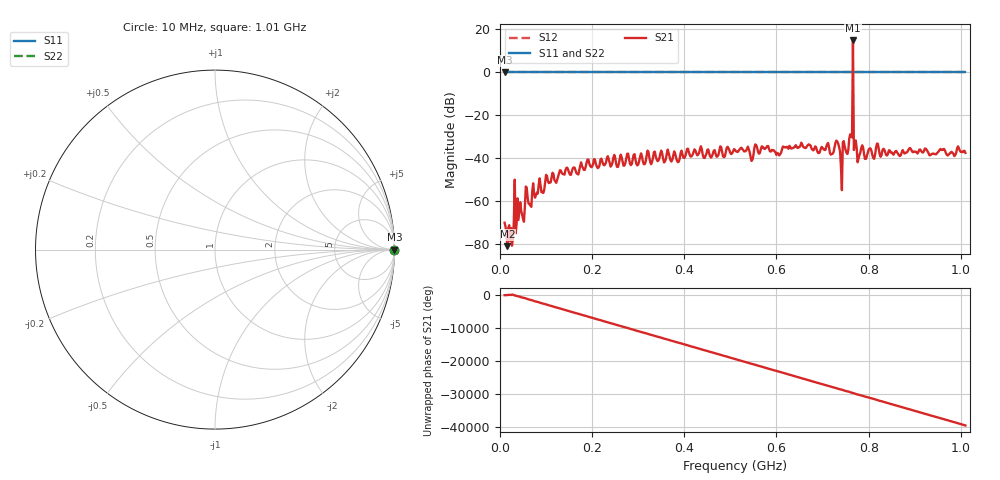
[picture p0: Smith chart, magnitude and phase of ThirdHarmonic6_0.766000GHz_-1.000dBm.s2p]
! 8/16/2025 1:36:11 AM
! C:\ANRITSUVNA\TEMP\TEMP.S2P
! CHANNEL.1
! TR.MEASUREMENT
! RAW.DATA
! RF.CORRECTION.OFF
! AVERAGING.OFF
! IF.BANDWIDTH: 5KHZ
! SWEEPTYPE:  FREQ.SWEEP(Linear)
! Reference Plane Port Info
! PORT:  PORT1  PORT2
! DISTANCE:  0  m  0  m
! TIME:  0  s  0  s
! PHASE.OFFSET:  0  deg.  0  deg.
! LOSS:  0  dB  0  dB
! REF.LOSS:  0  dB  0  dB
! REF.FREQ:  0  Hz  0  Hz
! Power Info
! POWER:  -20  dBm  -20  dBm
! EFF.POWER:  -20  dBm  -20  dBm
! SOURCE.ATTEN:  0  dB  0  dB
! TEST.ATTEN:  0  dB  0  dB
# GHZ S RI R 50.0
! FREQ.GHZ  S11RE  S11IM  S21RE  S21IM  S12RE  S12IM  S22RE  S22IM
!; PortSelection: Port_12
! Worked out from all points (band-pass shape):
!   501 points, 10 MHz to 1.01 GHz, reference 50 ohm
!   highest |S21| = 14.89 dB at 766 MHz (marker M1); lowest = -81.0 dB at 16 MHz (marker M2)
!   |S21| within 3 dB of the highest: 765.8672 MHz to 766.1175 MHz (250.2 kHz wide, 0.0327 % of centre)
!   lowest |S11| = 0.0 dB at 10 MHz (marker M3)
!   |S11| at or under -10 dB: nowhere
!   |S22| runs from 0.0 to 0.0 dB; largest |S21 - S12| = 6
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0.01  1 0  0.000263 0.000171  1 0  1 0
0.016  1 0  4.37e-05 7.77e-05  1 0  1 0
0.026  1 0  -6.27e-05 -6.62e-05  1 0  1 0
0.034  1 0  2.77e-05 -0.000176  1 0  1 0
0.05  1 0  0.000385 2.1e-05  1 0  1 0
0.058  1 0  0.00203 0.000349  1 0  1 0
0.064  1 0  -0.000339 0.000782  1 0  1 0
0.102  1 0  0.00371 0.000941  1 0  1 0
0.178  1 0  -0.00655 0.000522  1 0  1 0
0.344  1 0  0.00735 -0.00505  1 0  1 0
0.51  1 0  -0.00531 0.0147  1 0  1 0
0.678  1 0  -0.0152 0.0045  1 0  1 0
0.72  1 0  0.00312 -0.0121  1 0  1 0
0.732  1 0  -0.0212 0.0122  1 0  1 0
0.738  1 0  -0.00289 -0.0141  1 0  1 0
0.76  1 0  -0.0121 0.034  1 0  1 0
0.762  1 0  0.0315 0.00475  1 0  1 0
0.766  1 0  -1.949 -5.196  1 0  1 0
0.77  1 0  0.0152 0.0172  1 0  1 0
0.772  1 0  0.016 -0.0206  1 0  1 0
0.844  1 0  0.0128 -0.00841  1 0  1 0
1.01  1 0  -0.00331 0.0129  1 0  1 0
